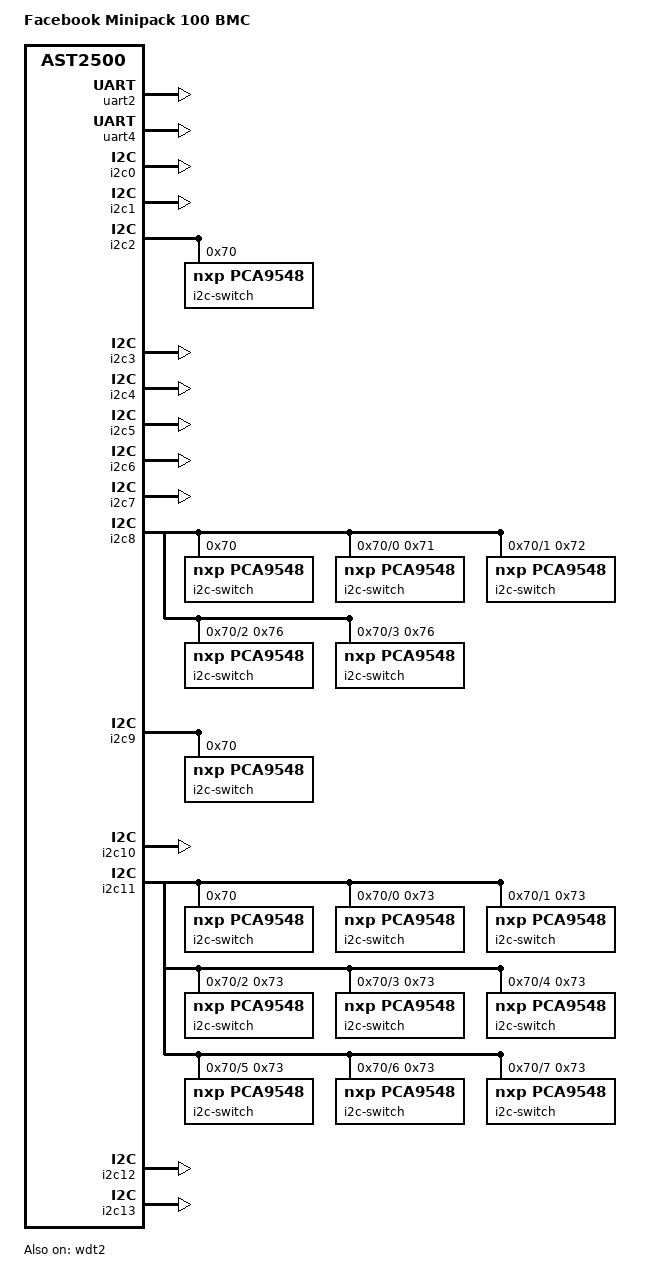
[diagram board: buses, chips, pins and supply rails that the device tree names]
// SPDX-License-Identifier: GPL-2.0+
// Copyright (c) 2018 Facebook Inc.
/dts-v1/;

#include "ast2500-facebook-netbmc-common.dtsi"

/ {
	model = "Facebook Minipack 100 BMC";
	compatible = "facebook,minipack-bmc", "aspeed,ast2500";

	aliases {
		/*
		 * Override the default serial aliases to avoid breaking
		 * the legacy applications.
		 */
		serial0 = &uart5;
		serial1 = &uart1;
		serial2 = &uart2;
		serial3 = &uart3;
		serial4 = &uart4;

		/*
		 * i2c switch 2-0070, pca9548, 8 child channels assigned
		 * with bus number 16-23.
		 */
		i2c16 = &imux16;
		i2c17 = &imux17;
		i2c18 = &imux18;
		i2c19 = &imux19;
		i2c20 = &imux20;
		i2c21 = &imux21;
		i2c22 = &imux22;
		i2c23 = &imux23;

		/*
		 * i2c switch 8-0070, pca9548, 8 child channels assigned
		 * with bus number 24-31.
		 */
		i2c24 = &imux24;
		i2c25 = &imux25;
		i2c26 = &imux26;
		i2c27 = &imux27;
		i2c28 = &imux28;
		i2c29 = &imux29;
		i2c30 = &imux30;
		i2c31 = &imux31;

		/*
		 * i2c switch 9-0070, pca9548, 8 child channels assigned
		 * with bus number 32-39.
		 */
		i2c32 = &imux32;
		i2c33 = &imux33;
		i2c34 = &imux34;
		i2c35 = &imux35;
		i2c36 = &imux36;
		i2c37 = &imux37;
		i2c38 = &imux38;
		i2c39 = &imux39;

		/*
		 * i2c switch 11-0070, pca9548, 8 child channels assigned
		 * with bus number 40-47.
		 */
		i2c40 = &imux40;
		i2c41 = &imux41;
		i2c42 = &imux42;
		i2c43 = &imux43;
		i2c44 = &imux44;
		i2c45 = &imux45;
		i2c46 = &imux46;
		i2c47 = &imux47;

		/*
		 * I2C Switch 24-0071 (channel #0 of 8-0070): 8 channels for
		 * connecting to left PDB (Power Distribution Board).
		 */
		i2c48 = &imux48;
		i2c49 = &imux49;
		i2c50 = &imux50;
		i2c51 = &imux51;
		i2c52 = &imux52;
		i2c53 = &imux53;
		i2c54 = &imux54;
		i2c55 = &imux55;

		/*
		 * I2C Switch 25-0072 (channel #1 of 8-0070): 8 channels for
		 * connecting to right PDB (Power Distribution Board).
		 */
		i2c56 = &imux56;
		i2c57 = &imux57;
		i2c58 = &imux58;
		i2c59 = &imux59;
		i2c60 = &imux60;
		i2c61 = &imux61;
		i2c62 = &imux62;
		i2c63 = &imux63;

		/*
		 * I2C Switch 26-0076 (channel #2 of 8-0070): 8 channels for
		 * connecting to top FCM (Fan Control Module).
		 */
		i2c64 = &imux64;
		i2c65 = &imux65;
		i2c66 = &imux66;
		i2c67 = &imux67;
		i2c68 = &imux68;
		i2c69 = &imux69;
		i2c70 = &imux70;
		i2c71 = &imux71;

		/*
		 * I2C Switch 27-0076 (channel #3 of 8-0070): 8 channels for
		 * connecting to bottom FCM (Fan Control Module).
		 */
		i2c72 = &imux72;
		i2c73 = &imux73;
		i2c74 = &imux74;
		i2c75 = &imux75;
		i2c76 = &imux76;
		i2c77 = &imux77;
		i2c78 = &imux78;
		i2c79 = &imux79;

		/*
		 * I2C Switch 40-0073 (channel #0 of 11-0070): connecting
		 * to PIM (Port Interface Module) #1 (1-based).
		 */
		i2c80 = &imux80;
		i2c81 = &imux81;
		i2c82 = &imux82;
		i2c83 = &imux83;
		i2c84 = &imux84;
		i2c85 = &imux85;
		i2c86 = &imux86;
		i2c87 = &imux87;

		/*
		 * I2C Switch 41-0073 (channel #1 of 11-0070): connecting
		 * to PIM (Port Interface Module) #2 (1-based).
		 */
		i2c88 = &imux88;
		i2c89 = &imux89;
		i2c90 = &imux90;
		i2c91 = &imux91;
		i2c92 = &imux92;
		i2c93 = &imux93;
		i2c94 = &imux94;
		i2c95 = &imux95;

		/*
		 * I2C Switch 42-0073 (channel #2 of 11-0070): connecting
		 * to PIM (Port Interface Module) #3 (1-based).
		 */
		i2c96 = &imux96;
		i2c97 = &imux97;
		i2c98 = &imux98;
		i2c99 = &imux99;
		i2c100 = &imux100;
		i2c101 = &imux101;
		i2c102 = &imux102;
		i2c103 = &imux103;

		/*
		 * I2C Switch 43-0073 (channel #3 of 11-0070): connecting
		 * to PIM (Port Interface Module) #4 (1-based).
		 */
		i2c104 = &imux104;
		i2c105 = &imux105;
		i2c106 = &imux106;
		i2c107 = &imux107;
		i2c108 = &imux108;
		i2c109 = &imux109;
		i2c110 = &imux110;
		i2c111 = &imux111;

		/*
		 * I2C Switch 44-0073 (channel #4 of 11-0070): connecting
		 * to PIM (Port Interface Module) #5 (1-based).
		 */
		i2c112 = &imux112;
		i2c113 = &imux113;
		i2c114 = &imux114;
		i2c115 = &imux115;
		i2c116 = &imux116;
		i2c117 = &imux117;
		i2c118 = &imux118;
		i2c119 = &imux119;

		/*
		 * I2C Switch 45-0073 (channel #5 of 11-0070): connecting
		 * to PIM (Port Interface Module) #6 (1-based).
		 */
		i2c120 = &imux120;
		i2c121 = &imux121;
		i2c122 = &imux122;
		i2c123 = &imux123;
		i2c124 = &imux124;
		i2c125 = &imux125;
		i2c126 = &imux126;
		i2c127 = &imux127;

		/*
		 * I2C Switch 46-0073 (channel #6 of 11-0070): connecting
		 * to PIM (Port Interface Module) #7 (1-based).
		 */
		i2c128 = &imux128;
		i2c129 = &imux129;
		i2c130 = &imux130;
		i2c131 = &imux131;
		i2c132 = &imux132;
		i2c133 = &imux133;
		i2c134 = &imux134;
		i2c135 = &imux135;

		/*
		 * I2C Switch 47-0073 (channel #7 of 11-0070): connecting
		 * to PIM (Port Interface Module) #8 (1-based).
		 */
		i2c136 = &imux136;
		i2c137 = &imux137;
		i2c138 = &imux138;
		i2c139 = &imux139;
		i2c140 = &imux140;
		i2c141 = &imux141;
		i2c142 = &imux142;
		i2c143 = &imux143;
	};

	chosen {
		stdout-path = &uart1;
		bootargs = "debug console=ttyS1,9600n8 root=/dev/ram rw";
	};
};

&wdt2 {
	status = "okay";
	aspeed,reset-type = "system";
};

/*
 * Both firmware flashes are 64MB on Minipack BMC.
 */
&fmc_flash0 {
	partitions {
		compatible = "fixed-partitions";
		#address-cells = <1>;
		#size-cells = <1>;

		/*
		 * u-boot partition: 384KB.
		 */
		u-boot@0 {
			reg = <0x0 0x60000>;
			label = "u-boot";
		};

		/*
		 * u-boot environment variables: 128KB.
		 */
		u-boot-env@60000 {
			reg = <0x60000 0x20000>;
			label = "env";
		};

		/*
		 * FIT image: 55.5 MB.
		 */
		fit@80000 {
			reg = <0x80000 0x3780000>;
			label = "fit";
		};

		/*
		 * "data0" partition (8MB) is reserved for persistent
		 * data store.
		 */
		data0@3800000 {
			reg = <0x3800000 0x800000>;
			label = "data0";
		};

		/*
		 * "flash0" partition (covering the entire flash) is
		 * explicitly created to avoid breaking legacy applications.
		 */
		flash0@0 {
			reg = <0x0 0x4000000>;
			label = "flash0";
		};
	};
};

&fmc_flash1 {
	partitions {
		compatible = "fixed-partitions";
		#address-cells = <1>;
		#size-cells = <1>;

		flash1@0 {
			reg = <0x0 0x4000000>;
		};
	};
};

&uart1 {
	pinctrl-0 = <&pinctrl_txd1_default
		     &pinctrl_rxd1_default
		     &pinctrl_ncts1_default
		     &pinctrl_ndsr1_default
		     &pinctrl_ndtr1_default
		     &pinctrl_nrts1_default>;
};

&uart2 {
	status = "okay";
	pinctrl-names = "default";
	pinctrl-0 = <&pinctrl_txd2_default
		     &pinctrl_rxd2_default>;
};

&uart4 {
	status = "okay";
	pinctrl-names = "default";
	pinctrl-0 = <&pinctrl_txd4_default
		     &pinctrl_rxd4_default>;
};

&i2c0 {
	status = "okay";
	bus-frequency = <400000>;
	multi-master;
};

&i2c1 {
	status = "okay";
};

&i2c2 {
	status = "okay";

	/*
	 * I2C Switch 2-0070 is connecting to SCM (System Controller
	 * Module).
	 */
	i2c-switch@70 {
		compatible = "nxp,pca9548";
		#address-cells = <1>;
		#size-cells = <0>;
		reg = <0x70>;
		i2c-mux-idle-disconnect;

		imux16: i2c@0 {
			#address-cells = <1>;
			#size-cells = <0>;
			reg = <0>;
		};

		imux17: i2c@1 {
			#address-cells = <1>;
			#size-cells = <0>;
			reg = <1>;
		};

		imux18: i2c@2 {
			#address-cells = <1>;
			#size-cells = <0>;
			reg = <2>;
		};

		imux19: i2c@3 {
			#address-cells = <1>;
			#size-cells = <0>;
			reg = <3>;
		};

		imux20: i2c@4 {
			#address-cells = <1>;
			#size-cells = <0>;
			reg = <4>;
		};

		imux21: i2c@5 {
			#address-cells = <1>;
			#size-cells = <0>;
			reg = <5>;
		};

		imux22: i2c@6 {
			#address-cells = <1>;
			#size-cells = <0>;
			reg = <6>;
		};

		imux23: i2c@7 {
			#address-cells = <1>;
			#size-cells = <0>;
			reg = <7>;
		};
	};
};

&i2c3 {
	status = "okay";
};

&i2c4 {
	status = "okay";
	multi-master;
};

&i2c5 {
	status = "okay";
};

&i2c6 {
	status = "okay";
};

&i2c7 {
	status = "okay";
};

&i2c8 {
	status = "okay";

	i2c-switch@70 {
		compatible = "nxp,pca9548";
		#address-cells = <1>;
		#size-cells = <0>;
		reg = <0x70>;
		i2c-mux-idle-disconnect;

		/*
		 * I2C Switch 8-0070 channel #0: connecting to left PDB
		 * (Power Distribution Board).
		 */
		imux24: i2c@0 {
			#address-cells = <1>;
			#size-cells = <0>;
			reg = <0>;

			i2c-switch@71 {
				compatible = "nxp,pca9548";
				#address-cells = <1>;
				#size-cells = <0>;
				reg = <0x71>;
				i2c-mux-idle-disconnect;

				imux48: i2c@0 {
					#address-cells = <1>;
					#size-cells = <0>;
					reg = <0>;
				};

				imux49: i2c@1 {
					#address-cells = <1>;
					#size-cells = <0>;
					reg = <1>;
				};

				imux50: i2c@2 {
					#address-cells = <1>;
					#size-cells = <0>;
					reg = <2>;
				};

				imux51: i2c@3 {
					#address-cells = <1>;
					#size-cells = <0>;
					reg = <3>;
				};

				imux52: i2c@4 {
					#address-cells = <1>;
					#size-cells = <0>;
					reg = <4>;
				};

				imux53: i2c@5 {
					#address-cells = <1>;
					#size-cells = <0>;
					reg = <5>;
				};

				imux54: i2c@6 {
					#address-cells = <1>;
					#size-cells = <0>;
					reg = <6>;
				};

				imux55: i2c@7 {
					#address-cells = <1>;
					#size-cells = <0>;
					reg = <7>;
				};
			};
		};

		/*
		 * I2C Switch 8-0070 channel #1: connecting to right PDB
		 * (Power Distribution Board).
		 */
		imux25: i2c@1 {
			#address-cells = <1>;
			#size-cells = <0>;
			reg = <1>;

			i2c-switch@72 {
				compatible = "nxp,pca9548";
				#address-cells = <1>;
				#size-cells = <0>;
				reg = <0x72>;
				i2c-mux-idle-disconnect;

				imux56: i2c@0 {
					#address-cells = <1>;
					#size-cells = <0>;
					reg = <0>;
				};

				imux57: i2c@1 {
					#address-cells = <1>;
					#size-cells = <0>;
					reg = <1>;
				};

				imux58: i2c@2 {
					#address-cells = <1>;
					#size-cells = <0>;
					reg = <2>;
				};

				imux59: i2c@3 {
					#address-cells = <1>;
					#size-cells = <0>;
					reg = <3>;
				};

				imux60: i2c@4 {
					#address-cells = <1>;
					#size-cells = <0>;
					reg = <4>;
				};

				imux61: i2c@5 {
					#address-cells = <1>;
					#size-cells = <0>;
					reg = <5>;
				};

				imux62: i2c@6 {
					#address-cells = <1>;
					#size-cells = <0>;
					reg = <6>;
				};

				imux63: i2c@7 {
					#address-cells = <1>;
					#size-cells = <0>;
					reg = <7>;
				};
			};
		};

		/*
		 * I2C Switch 8-0070 channel #2: connecting to top FCM
		 * (Fan Control Module).
		 */
		imux26: i2c@2 {
			#address-cells = <1>;
			#size-cells = <0>;
			reg = <2>;

			i2c-switch@76 {
				compatible = "nxp,pca9548";
				#address-cells = <1>;
				#size-cells = <0>;
				reg = <0x76>;
				i2c-mux-idle-disconnect;

				imux64: i2c@0 {
					#address-cells = <1>;
					#size-cells = <0>;
					reg = <0>;
				};

				imux65: i2c@1 {
					#address-cells = <1>;
					#size-cells = <0>;
					reg = <1>;
				};

				imux66: i2c@2 {
					#address-cells = <1>;
					#size-cells = <0>;
					reg = <2>;
				};

				imux67: i2c@3 {
					#address-cells = <1>;
					#size-cells = <0>;
					reg = <3>;
				};

				imux68: i2c@4 {
					#address-cells = <1>;
					#size-cells = <0>;
					reg = <4>;
				};

				imux69: i2c@5 {
					#address-cells = <1>;
					#size-cells = <0>;
					reg = <5>;
				};

				imux70: i2c@6 {
					#address-cells = <1>;
					#size-cells = <0>;
					reg = <6>;
				};

				imux71: i2c@7 {
					#address-cells = <1>;
					#size-cells = <0>;
					reg = <7>;
				};
			};
		};

		/*
		 * I2C Switch 8-0070 channel #3: connecting to bottom
		 * FCM (Fan Control Module).
		 */
		imux27: i2c@3 {
			#address-cells = <1>;
			#size-cells = <0>;
			reg = <3>;

			i2c-switch@76 {
				compatible = "nxp,pca9548";
				#address-cells = <1>;
				#size-cells = <0>;
				reg = <0x76>;
				i2c-mux-idle-disconnect;

				imux72: i2c@0 {
					#address-cells = <1>;
					#size-cells = <0>;
					reg = <0>;
				};

				imux73: i2c@1 {
					#address-cells = <1>;
					#size-cells = <0>;
					reg = <1>;
				};

				imux74: i2c@2 {
					#address-cells = <1>;
					#size-cells = <0>;
					reg = <2>;
				};

				imux75: i2c@3 {
					#address-cells = <1>;
					#size-cells = <0>;
					reg = <3>;
				};

				imux76: i2c@4 {
					#address-cells = <1>;
					#size-cells = <0>;
					reg = <4>;
				};

				imux77: i2c@5 {
					#address-cells = <1>;
					#size-cells = <0>;
					reg = <5>;
				};

				imux78: i2c@6 {
					#address-cells = <1>;
					#size-cells = <0>;
					reg = <6>;
				};

				imux79: i2c@7 {
					#address-cells = <1>;
					#size-cells = <0>;
					reg = <7>;
				};
			};
		};

		imux28: i2c@4 {
			#address-cells = <1>;
			#size-cells = <0>;
			reg = <4>;
		};

		imux29: i2c@5 {
			#address-cells = <1>;
			#size-cells = <0>;
			reg = <5>;
		};

		imux30: i2c@6 {
			#address-cells = <1>;
			#size-cells = <0>;
			reg = <6>;
		};

		imux31: i2c@7 {
			#address-cells = <1>;
			#size-cells = <0>;
			reg = <7>;
		};
	};
};

&i2c9 {
	status = "okay";

	/*
	 * I2C Switch 9-0070 is connecting to MAC/PHY EEPROMs on SMB
	 * (Switch Main Board).
	 */
	i2c-switch@70 {
		compatible = "nxp,pca9548";
		#address-cells = <1>;
		#size-cells = <0>;
		reg = <0x70>;
		i2c-mux-idle-disconnect;

		imux32: i2c@0 {
			#address-cells = <1>;
			#size-cells = <0>;
			reg = <0>;
		};

		imux33: i2c@1 {
			#address-cells = <1>;
			#size-cells = <0>;
			reg = <1>;
		};

		imux34: i2c@2 {
			#address-cells = <1>;
			#size-cells = <0>;
			reg = <2>;
		};

		imux35: i2c@3 {
			#address-cells = <1>;
			#size-cells = <0>;
			reg = <3>;
		};

		imux36: i2c@4 {
			#address-cells = <1>;
			#size-cells = <0>;
			reg = <4>;
		};

		imux37: i2c@5 {
			#address-cells = <1>;
			#size-cells = <0>;
			reg = <5>;
		};

		imux38: i2c@6 {
			#address-cells = <1>;
			#size-cells = <0>;
			reg = <6>;
		};

		imux39: i2c@7 {
			#address-cells = <1>;
			#size-cells = <0>;
			reg = <7>;
		};
	};
};

&i2c10 {
	status = "okay";
};

&i2c11 {
	status = "okay";

	i2c-switch@70 {
		compatible = "nxp,pca9548";
		#address-cells = <1>;
		#size-cells = <0>;
		reg = <0x70>;
		i2c-mux-idle-disconnect;

		/*
		 * I2C Switch 11-0070 channel #0: connecting to PIM
		 * (Port Interface Module) #1 (1-based).
		 */
		imux40: i2c@0 {
			#address-cells = <1>;
			#size-cells = <0>;
			reg = <0>;

			i2c-switch@73 {
				compatible = "nxp,pca9548";
				#address-cells = <1>;
				#size-cells = <0>;
				reg = <0x73>;
				i2c-mux-idle-disconnect;

				imux80: i2c@0 {
					#address-cells = <1>;
					#size-cells = <0>;
					reg = <0>;
				};

				imux81: i2c@1 {
					#address-cells = <1>;
					#size-cells = <0>;
					reg = <1>;
				};

				imux82: i2c@2 {
					#address-cells = <1>;
					#size-cells = <0>;
					reg = <2>;
				};

				imux83: i2c@3 {
					#address-cells = <1>;
					#size-cells = <0>;
					reg = <3>;
				};

				imux84: i2c@4 {
					#address-cells = <1>;
					#size-cells = <0>;
					reg = <4>;
				};

				imux85: i2c@5 {
					#address-cells = <1>;
					#size-cells = <0>;
					reg = <5>;
				};

				imux86: i2c@6 {
					#address-cells = <1>;
					#size-cells = <0>;
					reg = <6>;
				};

				imux87: i2c@7 {
					#address-cells = <1>;
					#size-cells = <0>;
					reg = <7>;
				};
			};
		};

		/*
		 * I2C Switch 11-0070 channel #1: connecting to PIM
		 * (Port Interface Module) #2 (1-based).
		 */
		imux41: i2c@1 {
			#address-cells = <1>;
			#size-cells = <0>;
			reg = <1>;

			i2c-switch@73 {
				compatible = "nxp,pca9548";
				#address-cells = <1>;
				#size-cells = <0>;
				reg = <0x73>;
				i2c-mux-idle-disconnect;

				imux88: i2c@0 {
					#address-cells = <1>;
					#size-cells = <0>;
					reg = <0>;
				};

				imux89: i2c@1 {
					#address-cells = <1>;
					#size-cells = <0>;
					reg = <1>;
				};

				imux90: i2c@2 {
					#address-cells = <1>;
					#size-cells = <0>;
					reg = <2>;
				};

				imux91: i2c@3 {
					#address-cells = <1>;
					#size-cells = <0>;
					reg = <3>;
				};

				imux92: i2c@4 {
					#address-cells = <1>;
					#size-cells = <0>;
					reg = <4>;
				};

				imux93: i2c@5 {
					#address-cells = <1>;
					#size-cells = <0>;
					reg = <5>;
				};

				imux94: i2c@6 {
					#address-cells = <1>;
					#size-cells = <0>;
					reg = <6>;
				};

				imux95: i2c@7 {
					#address-cells = <1>;
					#size-cells = <0>;
					reg = <7>;
				};
			};
		};

		/*
		 * I2C Switch 11-0070 channel #2: connecting to PIM
		 * (Port Interface Module) #3 (1-based).
		 */
		imux42: i2c@2 {
			#address-cells = <1>;
			#size-cells = <0>;
			reg = <2>;

			i2c-switch@73 {
				compatible = "nxp,pca9548";
				#address-cells = <1>;
				#size-cells = <0>;
				reg = <0x73>;
				i2c-mux-idle-disconnect;

				imux96: i2c@0 {
					#address-cells = <1>;
					#size-cells = <0>;
					reg = <0>;
				};

				imux97: i2c@1 {
					#address-cells = <1>;
					#size-cells = <0>;
					reg = <1>;
				};

				imux98: i2c@2 {
					#address-cells = <1>;
					#size-cells = <0>;
					reg = <2>;
				};

				imux99: i2c@3 {
					#address-cells = <1>;
					#size-cells = <0>;
					reg = <3>;
				};

				imux100: i2c@4 {
					#address-cells = <1>;
					#size-cells = <0>;
					reg = <4>;
				};

				imux101: i2c@5 {
					#address-cells = <1>;
					#size-cells = <0>;
					reg = <5>;
				};

				imux102: i2c@6 {
					#address-cells = <1>;
					#size-cells = <0>;
					reg = <6>;
				};

				imux103: i2c@7 {
					#address-cells = <1>;
					#size-cells = <0>;
					reg = <7>;
				};
			};
		};

		/*
		 * I2C Switch 11-0070 channel #3: connecting to PIM
		 * (Port Interface Module) #4 (1-based).
		 */
		imux43: i2c@3 {
			#address-cells = <1>;
			#size-cells = <0>;
			reg = <3>;

			i2c-switch@73 {
				compatible = "nxp,pca9548";
				#address-cells = <1>;
				#size-cells = <0>;
				reg = <0x73>;
				i2c-mux-idle-disconnect;

				imux104: i2c@0 {
					#address-cells = <1>;
					#size-cells = <0>;
					reg = <0>;
				};

				imux105: i2c@1 {
					#address-cells = <1>;
					#size-cells = <0>;
					reg = <1>;
				};

				imux106: i2c@2 {
					#address-cells = <1>;
					#size-cells = <0>;
					reg = <2>;
				};

				imux107: i2c@3 {
					#address-cells = <1>;
					#size-cells = <0>;
					reg = <3>;
				};

				imux108: i2c@4 {
					#address-cells = <1>;
					#size-cells = <0>;
					reg = <4>;
				};

				imux109: i2c@5 {
					#address-cells = <1>;
					#size-cells = <0>;
					reg = <5>;
				};

				imux110: i2c@6 {
					#address-cells = <1>;
					#size-cells = <0>;
					reg = <6>;
				};

				imux111: i2c@7 {
					#address-cells = <1>;
					#size-cells = <0>;
					reg = <7>;
				};
			};
		};

		/*
		 * I2C Switch 11-0070 channel #4: connecting to PIM
		 * (Port Interface Module) #5 (1-based).
		 */
		imux44: i2c@4 {
			#address-cells = <1>;
			#size-cells = <0>;
			reg = <4>;

			i2c-switch@73 {
				compatible = "nxp,pca9548";
				#address-cells = <1>;
				#size-cells = <0>;
				reg = <0x73>;
				i2c-mux-idle-disconnect;

				imux112: i2c@0 {
					#address-cells = <1>;
					#size-cells = <0>;
					reg = <0>;
				};

				imux113: i2c@1 {
					#address-cells = <1>;
					#size-cells = <0>;
					reg = <1>;
				};

				imux114: i2c@2 {
					#address-cells = <1>;
					#size-cells = <0>;
					reg = <2>;
				};

				imux115: i2c@3 {
					#address-cells = <1>;
					#size-cells = <0>;
					reg = <3>;
				};

				imux116: i2c@4 {
					#address-cells = <1>;
					#size-cells = <0>;
					reg = <4>;
				};

				imux117: i2c@5 {
					#address-cells = <1>;
					#size-cells = <0>;
					reg = <5>;
				};

				imux118: i2c@6 {
					#address-cells = <1>;
					#size-cells = <0>;
					reg = <6>;
				};

				imux119: i2c@7 {
					#address-cells = <1>;
					#size-cells = <0>;
					reg = <7>;
				};
			};
		};

		/*
		 * I2C Switch 11-0070 channel #5: connecting to PIM
		 * (Port Interface Module) #6 (1-based).
		 */
		imux45: i2c@5 {
			#address-cells = <1>;
			#size-cells = <0>;
			reg = <5>;

			i2c-switch@73 {
				compatible = "nxp,pca9548";
				#address-cells = <1>;
				#size-cells = <0>;
				reg = <0x73>;
				i2c-mux-idle-disconnect;

				imux120: i2c@0 {
					#address-cells = <1>;
					#size-cells = <0>;
					reg = <0>;
				};

				imux121: i2c@1 {
					#address-cells = <1>;
					#size-cells = <0>;
					reg = <1>;
				};

				imux122: i2c@2 {
					#address-cells = <1>;
					#size-cells = <0>;
					reg = <2>;
				};

				imux123: i2c@3 {
					#address-cells = <1>;
					#size-cells = <0>;
					reg = <3>;
				};

				imux124: i2c@4 {
					#address-cells = <1>;
					#size-cells = <0>;
					reg = <4>;
				};

				imux125: i2c@5 {
					#address-cells = <1>;
					#size-cells = <0>;
					reg = <5>;
				};

				imux126: i2c@6 {
					#address-cells = <1>;
					#size-cells = <0>;
					reg = <6>;
				};

				imux127: i2c@7 {
					#address-cells = <1>;
					#size-cells = <0>;
					reg = <7>;
				};
			};
		};

		/*
		 * I2C Switch 11-0070 channel #6: connecting to PIM
		 * (Port Interface Module) #7 (1-based).
		 */
		imux46: i2c@6 {
			#address-cells = <1>;
			#size-cells = <0>;
			reg = <6>;

			i2c-switch@73 {
				compatible = "nxp,pca9548";
				#address-cells = <1>;
				#size-cells = <0>;
				reg = <0x73>;
				i2c-mux-idle-disconnect;

				imux128: i2c@0 {
					#address-cells = <1>;
					#size-cells = <0>;
					reg = <0>;
				};

				imux129: i2c@1 {
					#address-cells = <1>;
					#size-cells = <0>;
					reg = <1>;
				};

				imux130: i2c@2 {
					#address-cells = <1>;
					#size-cells = <0>;
					reg = <2>;
				};

				imux131: i2c@3 {
					#address-cells = <1>;
					#size-cells = <0>;
					reg = <3>;
				};

				imux132: i2c@4 {
					#address-cells = <1>;
					#size-cells = <0>;
					reg = <4>;
				};

				imux133: i2c@5 {
					#address-cells = <1>;
					#size-cells = <0>;
					reg = <5>;
				};

				imux134: i2c@6 {
					#address-cells = <1>;
					#size-cells = <0>;
					reg = <6>;
				};

				imux135: i2c@7 {
					#address-cells = <1>;
					#size-cells = <0>;
					reg = <7>;
				};
			};
		};

		/*
		 * I2C Switch 11-0070 channel #7: connecting to PIM
		 * (Port Interface Module) #8 (1-based).
		 */
		imux47: i2c@7 {
			#address-cells = <1>;
			#size-cells = <0>;
			reg = <7>;

			i2c-switch@73 {
				compatible = "nxp,pca9548";
				#address-cells = <1>;
				#size-cells = <0>;
				reg = <0x73>;
				i2c-mux-idle-disconnect;

				imux136: i2c@0 {
					#address-cells = <1>;
					#size-cells = <0>;
					reg = <0>;
				};

				imux137: i2c@1 {
					#address-cells = <1>;
					#size-cells = <0>;
					reg = <1>;
				};

				imux138: i2c@2 {
					#address-cells = <1>;
					#size-cells = <0>;
					reg = <2>;
				};

				imux139: i2c@3 {
					#address-cells = <1>;
					#size-cells = <0>;
					reg = <3>;
				};

				imux140: i2c@4 {
					#address-cells = <1>;
					#size-cells = <0>;
					reg = <4>;
				};

				imux141: i2c@5 {
					#address-cells = <1>;
					#size-cells = <0>;
					reg = <5>;
				};

				imux142: i2c@6 {
					#address-cells = <1>;
					#size-cells = <0>;
					reg = <6>;
				};

				imux143: i2c@7 {
					#address-cells = <1>;
					#size-cells = <0>;
					reg = <7>;
				};
			};
		};
	};
};

&i2c12 {
	status = "okay";
};

&i2c13 {
	status = "okay";
};
